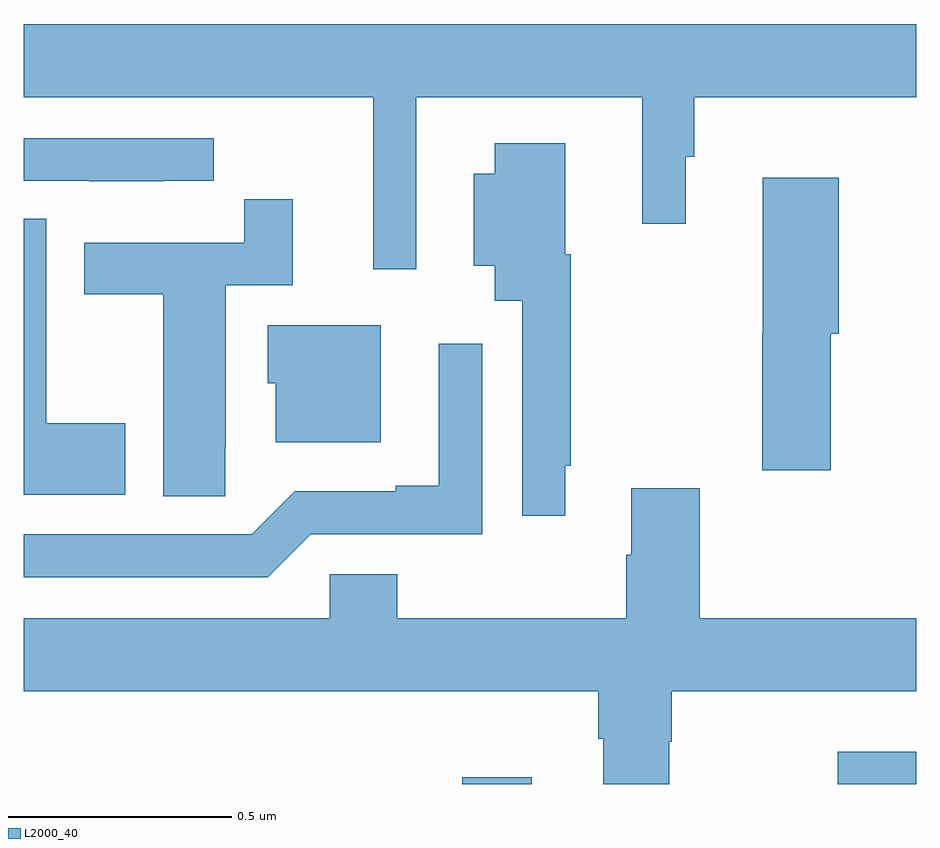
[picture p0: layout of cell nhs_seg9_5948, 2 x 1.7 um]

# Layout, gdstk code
import gdstk
lib = gdstk.Library(unit=1e-6, precision=1e-09)
def R(c, l, rs):  # rectangles x0, y0, x1, y1
    for r in rs: c.add(gdstk.rectangle(r[:2], r[2:], *l))
def P(c, l, *ps):  # polygons
    for p in ps: c.add(gdstk.Polygon(p, *l))
L2000_40 = (2000, 40)

nhs_seg9_5948 = lib.new_cell('nhs_seg9_5948')
R(nhs_seg9_5948, L2000_40, [(185.983,1241.5,186.139,1241.515), (186.825,1241.5,187,1241.572)])
P(nhs_seg9_5948, L2000_40, [(185.88,1243.04),(186.386,1243.04),(186.386,1242.756),(186.484,1242.756),(186.484,1242.906),(186.503,1242.906),(186.503,1243.04),(187,1243.04),(187,1243.204),(185,1243.204),(185,1243.04),(185.783,1243.04),(185.783,1242.654),(185.88,1242.654)],
  [(185.312,1242.852),(185.425,1242.852),(185.425,1242.948),(185,1242.948),(185,1242.852),(185.146,1242.852),(185.146,1242.851),(185.312,1242.851)],
  [(186.214,1242.214),(186.226,1242.214),(186.226,1242.688),(186.214,1242.688),(186.214,1242.937),(186.056,1242.937),(186.056,1242.868),(186.008,1242.868),(186.008,1242.662),(186.056,1242.662),(186.056,1242.584),(186.117,1242.584),(186.117,1242.102),(186.214,1242.102)],
  [(186.809,1242.51),(186.827,1242.51),(186.827,1242.859),(186.656,1242.859),(186.656,1242.51),(186.655,1242.51),(186.655,1242.204),(186.809,1242.204)],
  [(185.451,1242.256),(185.452,1242.256),(185.452,1242.618),(185.603,1242.618),(185.603,1242.811),(185.494,1242.811),(185.494,1242.714),(185.135,1242.714),(185.135,1242.598),(185.312,1242.598),(185.312,1242.145),(185.451,1242.145)],
  [(185.227,1242.309),(185.05,1242.309),(185.05,1242.767),(185,1242.767),(185,1242.149),(185.227,1242.149)],
  [(185.8,1242.529),(185.546,1242.529),(185.546,1242.399),(185.564,1242.399),(185.564,1242.266),(185.8,1242.266)],
  [(185.643,1242.06),(186.027,1242.06),(186.027,1242.487),(185.93,1242.487),(185.93,1242.169),(185.834,1242.169),(185.834,1242.156),(185.607,1242.156),(185.511,1242.06),(185,1242.06),(185,1241.964),(185.547,1241.964)],
  [(186.447,1241.595),(186.452,1241.595),(186.452,1241.708),(187,1241.708),(187,1241.872),(186.515,1241.872),(186.515,1242.163),(186.362,1242.163),(186.362,1242.014),(186.35,1242.014),(186.35,1241.872),(185.837,1241.872),(185.837,1241.97),(185.685,1241.97),(185.685,1241.872),(185,1241.872),(185,1241.708),(186.287,1241.708),(186.287,1241.602),(186.299,1241.602),(186.299,1241.5),(186.447,1241.5)])

lib.write_gds('nhs_seg9_5948.gds')
